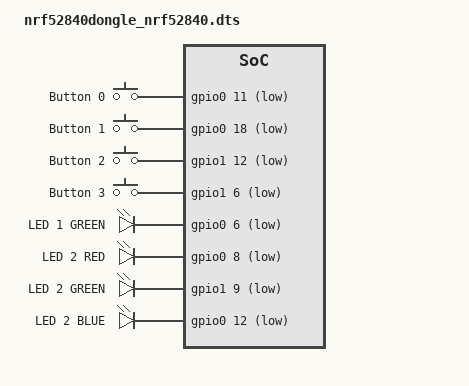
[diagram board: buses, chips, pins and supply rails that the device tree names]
/ {
        buttons {
                compatible = "gpio-keys";
                /*
                 * Add up to 4 total buttons in child nodes as shown here.
                 */
                button0: button_0 {
                        // Unused
                        gpios = <&gpio0 11 (GPIO_PULL_UP | GPIO_ACTIVE_LOW)>;
                        label = "Button 0";
                };
                button1: button_1 {
                        // Unused
                        gpios = <&gpio0 18 (GPIO_PULL_DOWN | GPIO_ACTIVE_LOW)>;
                        label = "Button 1";
                };
                button2: button_2 {
                        // Unused
                        gpios = <&gpio1 12 (GPIO_PULL_UP | GPIO_ACTIVE_LOW)>;
                        label = "Button 2";
                };
                button3: button_3 {
                        /* Button 3 on P1.06, no internal pull resistor,
                         * low is pressed. */
                        gpios = <&gpio1 6 GPIO_ACTIVE_LOW>;
                        label = "Button 3";
                };
        };
    
        leds {
            compatible = "gpio-leds";
            led_0 {
                    /* LED 1 GREEN on P0.6, LED on when pin is high */
                    gpios = < &gpio0 6 GPIO_ACTIVE_LOW >;
                    label = "LED 1 GREEN";
            };
            led_1 {
                    /* LED 2 RED on P0.08, LED on when pin is low */
                    gpios = < &gpio0 8 GPIO_ACTIVE_LOW >;
                    label = "LED 2 RED";
            };
            led_2 {
                    /* LED 2 GREEN on P1.09, on when low */
                    gpios = < &gpio1 9 GPIO_ACTIVE_LOW >;
                    label = "LED 2 GREEN";
            };
            led_3 {
                    /* LED 2 on P0.12, on when high */
                    gpios = < &gpio0 12 GPIO_ACTIVE_LOW >;
                    label = "LED 2 BLUE";
            };
        };
};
